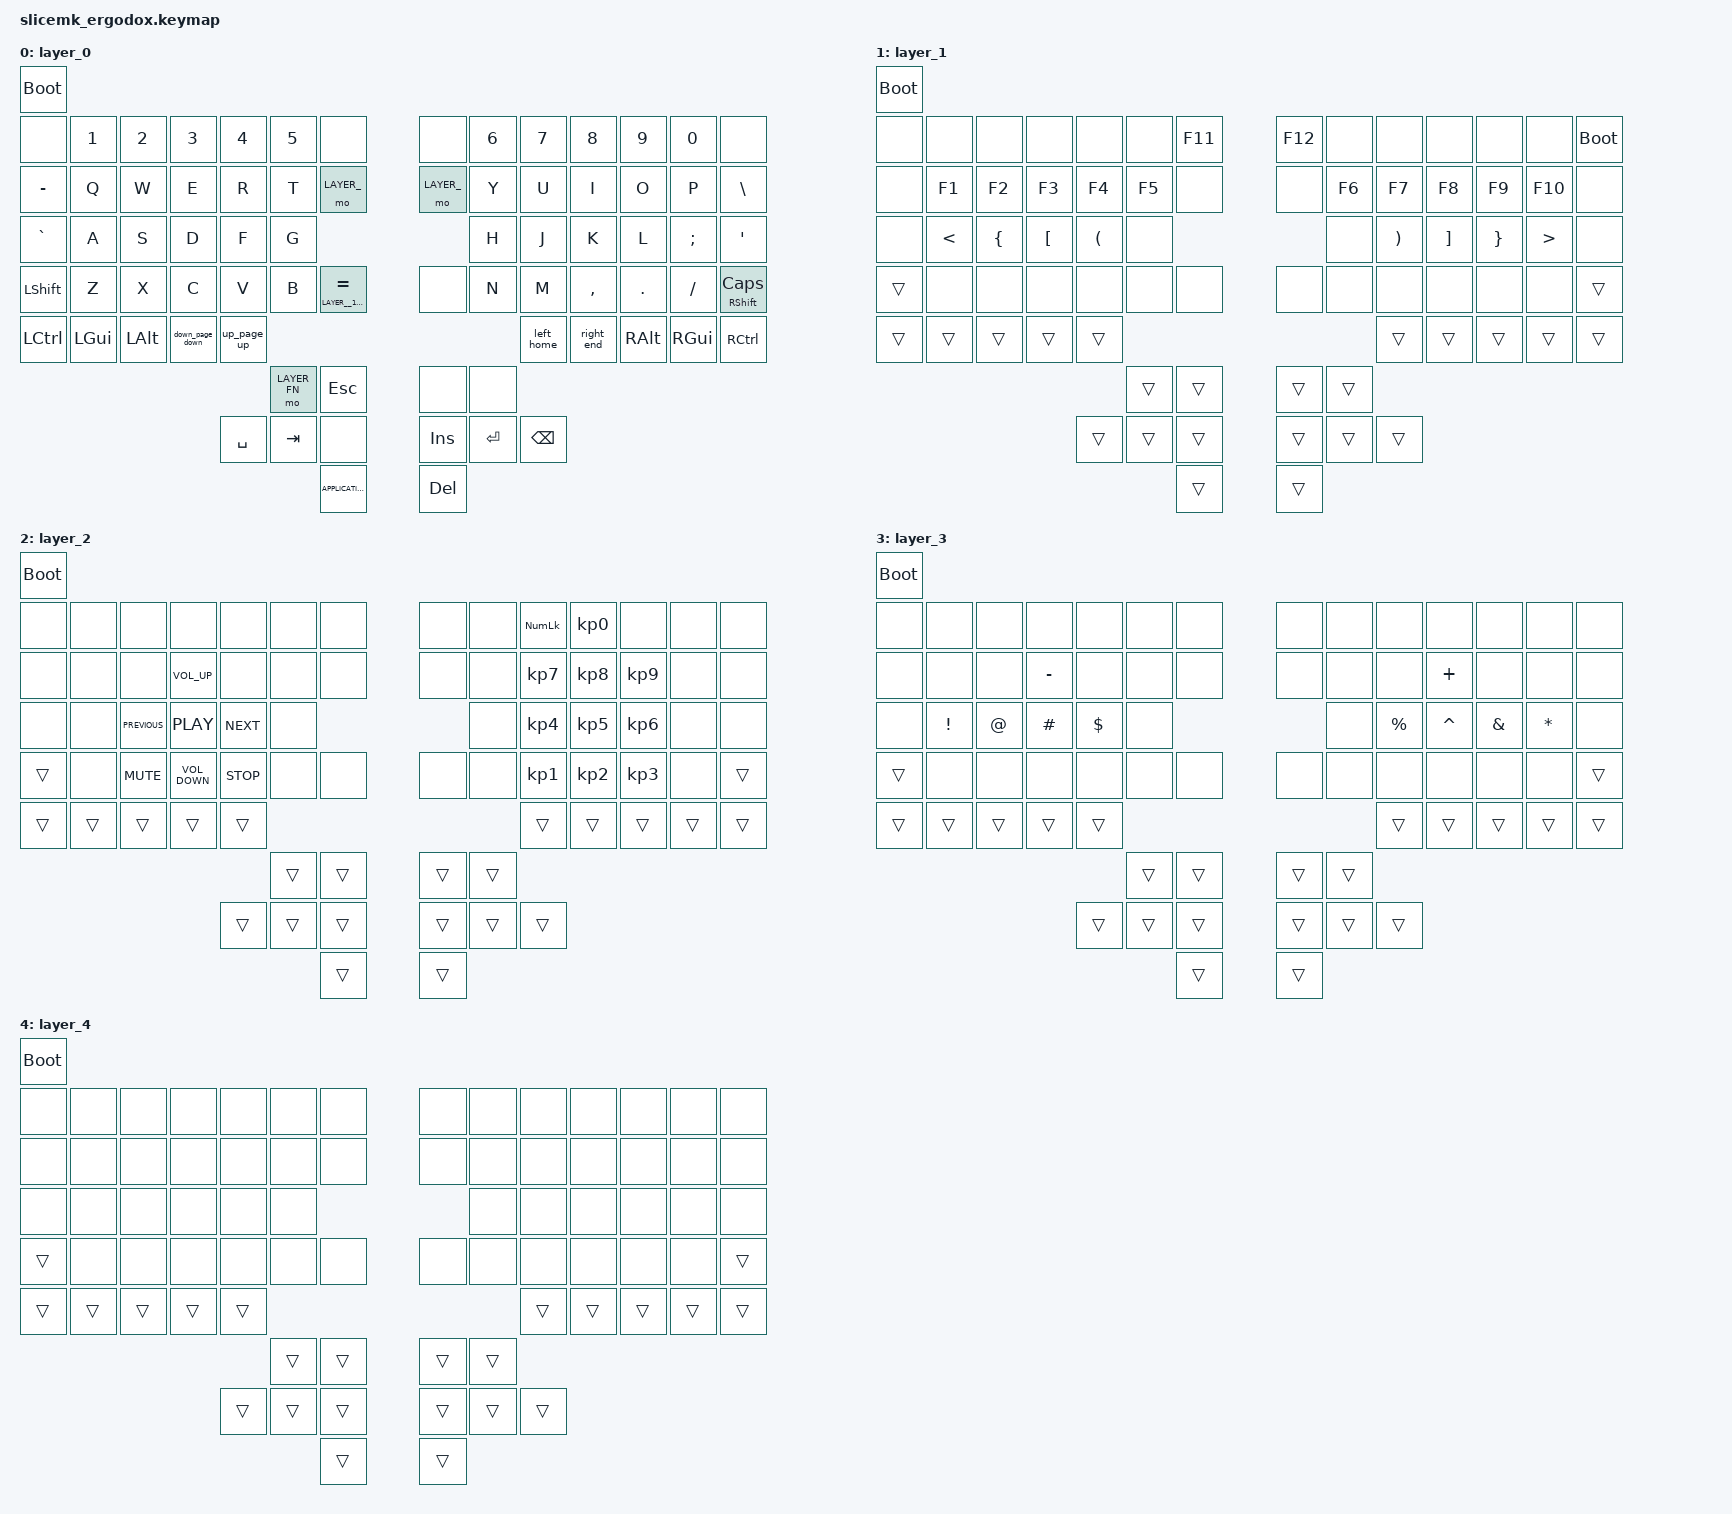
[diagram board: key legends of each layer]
#define LAYER_MAIN 0
#define LAYER_FN 1
#define LAYER_ 2
#define LAYER__1A04FEEF 3
#define LAYER_TEMPLATE 4

#include <behaviors.dtsi>
#include <dt-bindings/zmk/bt.h>
#include <dt-bindings/zmk/keys.h>
#include <dt-bindings/zmk/mouse.h>
#include <dt-bindings/zmk/outputs.h>
#include <dt-bindings/zmk/rgb.h>

/ {    
    behaviors {
        down_page_down: down_page_down {
            compatible = "zmk,behavior-mod-morph";
            label = "DOWN_PAGE_DOWN";
            #binding-cells = <0>;
            bindings = <&kp DOWN_ARROW>, <&kp PAGE_DOWN>;
            mods = <(MOD_RALT)>;
        };
        up_page_up: up_page_up {
            compatible = "zmk,behavior-mod-morph";
            label = "UP_PAGE_UP";
            #binding-cells = <0>;
            bindings = <&kp UP_ARROW>, <&kp PAGE_UP>;
            mods = <(MOD_RALT)>;
        };
        left_home: left_home {
            compatible = "zmk,behavior-mod-morph";
            label = "LEFT_HOME";
            #binding-cells = <0>;
            bindings = <&kp LEFT_ARROW>, <&kp HOME>;
            mods = <(MOD_RALT)>;
        };
		right_end: right_end {
            compatible = "zmk,behavior-mod-morph";
            label = "RIGHT_END";
            #binding-cells = <0>;
            bindings = <&kp RIGHT_ARROW>, <&kp END>;
            mods = <(MOD_RALT)>;
		};
    };
};

/ {
	keymap {
		compatible = "zmk,keymap";
		layer_0 {
			bindings = <
				&bootloader
				&none            &kp NUMBER_1 &kp NUMBER_2 &kp NUMBER_3    &kp NUMBER_4 &kp NUMBER_5 &none                     &none      &kp NUMBER_6 &kp NUMBER_7  &kp NUMBER_8 &kp NUMBER_9  &kp NUMBER_0  &none
				&kp MINUS        &kp Q        &kp W        &kp E           &kp R        &kp T        &mo LAYER_                &mo LAYER_ &kp Y        &kp U         &kp I        &kp O         &kp P         &kp BACKSLASH
				&kp GRAVE        &kp A        &kp S        &kp D           &kp F        &kp G                                             &kp H        &kp J         &kp K        &kp L         &kp SEMICOLON &kp SINGLE_QUOTE
				&kp LEFT_SHIFT   &kp Z        &kp X        &kp C           &kp V        &kp B        &lt LAYER__1A04FEEF EQUAL &none      &kp N        &kp M         &kp COMMA    &kp PERIOD    &kp SLASH     &mt RIGHT_SHIFT CAPSLOCK
				&kp LEFT_CONTROL &kp LEFT_GUI &kp LEFT_ALT &down_page_down &up_page_up                                                                 &left_home    &right_end   &kp RIGHT_ALT &kp RIGHT_GUI &kp RIGHT_CONTROL
				                                                                        &mo LAYER_FN &kp ESCAPE                &none      &none
				                                                           &kp SPACE    &kp TAB      &none                     &kp INSERT &kp RETURN   &kp BACKSPACE
				                                                                                     &kp K_APPLICATION         &kp DELETE
			>;
		};
		layer_1 {
			bindings = <
				&bootloader
				&none  &none         &none          &none            &none                &none  &kp F11 &kp F12 &none  &none                 &none             &none           &none            &bootloader
				&none  &kp F1        &kp F2         &kp F3           &kp F4               &kp F5 &none   &none   &kp F6 &kp F7                &kp F8            &kp F9          &kp F10          &none
				&none  &kp LESS_THAN &kp LEFT_BRACE &kp LEFT_BRACKET &kp LEFT_PARENTHESIS &none                  &none  &kp RIGHT_PARENTHESIS &kp RIGHT_BRACKET &kp RIGHT_BRACE &kp GREATER_THAN &none
				&trans &none         &none          &none            &none                &none  &none   &none   &none  &none                 &none             &none           &none            &trans
				&trans &trans        &trans         &trans           &trans                                             &trans                &trans            &trans          &trans           &trans
				                                                                          &trans &trans  &trans  &trans
				                                                     &trans               &trans &trans  &trans  &trans &trans
				                                                                                 &trans  &trans
			>;
		};
		layer_2 {
			bindings = <
				&bootloader
				&none  &none  &none          &none             &none      &none  &none  &none  &none  &kp KP_NUMLOCK  &kp KP_NUMBER_0 &none           &none  &none
				&none  &none  &none          &kp C_VOLUME_UP   &none      &none  &none  &none  &none  &kp KP_NUMBER_7 &kp KP_NUMBER_8 &kp KP_NUMBER_9 &none  &none
				&none  &none  &kp C_PREVIOUS &kp C_PLAY        &kp C_NEXT &none                &none  &kp KP_NUMBER_4 &kp KP_NUMBER_5 &kp KP_NUMBER_6 &none  &none
				&trans &none  &kp C_MUTE     &kp C_VOLUME_DOWN &kp C_STOP &none  &none  &none  &none  &kp KP_NUMBER_1 &kp KP_NUMBER_2 &kp KP_NUMBER_3 &none  &trans
				&trans &trans &trans         &trans            &trans                                 &trans          &trans          &trans          &trans &trans
				                                                          &trans &trans &trans &trans
				                                               &trans     &trans &trans &trans &trans &trans
				                                                                 &trans &trans
			>;
		};
		layer_3 {
			bindings = <
				&bootloader
				&none  &none           &none       &none     &none      &none  &none  &none  &none  &none       &none     &none         &none        &none
				&none  &none           &none       &kp MINUS &none      &none  &none  &none  &none  &none       &kp PLUS  &none         &none        &none
				&none  &kp EXCLAMATION &kp AT_SIGN &kp HASH  &kp DOLLAR &none                &none  &kp PERCENT &kp CARET &kp AMPERSAND &kp ASTERISK &none
				&trans &none           &none       &none     &none      &none  &none  &none  &none  &none       &none     &none         &none        &trans
				&trans &trans          &trans      &trans    &trans                                 &trans      &trans    &trans        &trans       &trans
				                                                        &trans &trans &trans &trans
				                                             &trans     &trans &trans &trans &trans &trans
				                                                               &trans &trans
			>;
		};
		layer_4 {
			bindings = <
				&bootloader
				&none  &none  &none  &none  &none  &none  &none  &none  &none  &none  &none  &none  &none  &none
				&none  &none  &none  &none  &none  &none  &none  &none  &none  &none  &none  &none  &none  &none
				&none  &none  &none  &none  &none  &none                &none  &none  &none  &none  &none  &none
				&trans &none  &none  &none  &none  &none  &none  &none  &none  &none  &none  &none  &none  &trans
				&trans &trans &trans &trans &trans                             &trans &trans &trans &trans &trans
				                                   &trans &trans &trans &trans
				                            &trans &trans &trans &trans &trans &trans
				                                          &trans &trans
			>;
		};
	};
};
